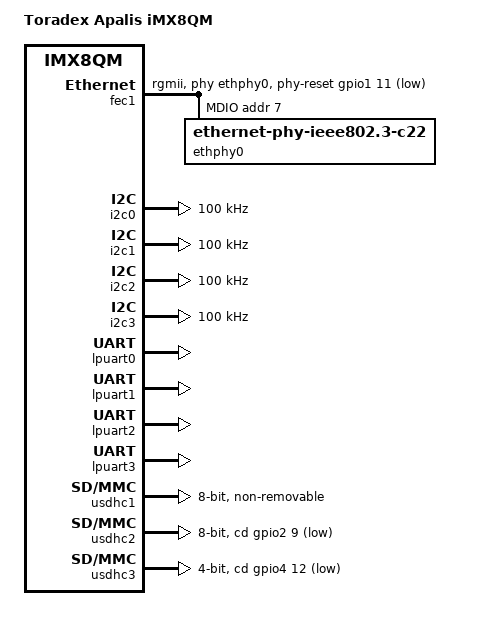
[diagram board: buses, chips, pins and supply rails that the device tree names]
// SPDX-License-Identifier: GPL-2.0+ OR X11
/*
 * Copyright 2017-2019 Toradex
 */

/dts-v1/;

/* First 128KB is for PSCI ATF. */
/memreserve/ 0x80000000 0x00020000;

#include "fsl-imx8qm.dtsi"
#include "fsl-imx8qm-apalis-u-boot.dtsi"

/ {
	model = "Toradex Apalis iMX8QM";
	compatible = "toradex,apalis-imx8qm", "fsl,imx8qm";

	chosen {
		bootargs = "console=ttyLP1,115200 earlycon=lpuart32,0x5a070000,115200";
		stdout-path = &lpuart1;
	};
};

&iomuxc {
	pinctrl-names = "default";
	pinctrl-0 = <&pinctrl_cam1_gpios>, <&pinctrl_dap1_gpios>,
		    <&pinctrl_esai0_gpios>, <&pinctrl_fec2_gpios>,
		    <&pinctrl_gpio12>, <&pinctrl_gpio34>, <&pinctrl_gpio56>,
		    <&pinctrl_gpio7>, <&pinctrl_gpio8>, <&pinctrl_gpio_bkl_on>,
		    <&pinctrl_gpio_keys>, <&pinctrl_gpio_pwm0>,
		    <&pinctrl_gpio_pwm1>, <&pinctrl_gpio_pwm2>,
		    <&pinctrl_gpio_pwm3>, <&pinctrl_gpio_pwm_bkl>,
		    <&pinctrl_gpio_usbh_en>, <&pinctrl_gpio_usbh_oc_n>,
		    <&pinctrl_gpio_usbo1_en>, <&pinctrl_gpio_usbo1_oc_n>,
		    <&pinctrl_lpuart1ctrl>, <&pinctrl_lvds0_i2c0_gpio>,
		    <&pinctrl_lvds1_i2c0_gpios>, <&pinctrl_mipi_dsi_0_1_en>,
		    <&pinctrl_mipi_dsi1_gpios>, <&pinctrl_mlb_gpios>,
		    <&pinctrl_qspi1a_gpios>, <&pinctrl_sata1_act>,
		    <&pinctrl_sim0_gpios>, <&pinctrl_usdhc1_gpios>;

	apalis-imx8qm {
		pinctrl_gpio12: gpio12grp {
			fsl,pins = <
				/* Apalis GPIO1 */
				SC_P_M40_GPIO0_00_LSIO_GPIO0_IO08		0x06000021
				/* Apalis GPIO2 */
				SC_P_M40_GPIO0_01_LSIO_GPIO0_IO09		0x06000021
			>;
		};

		pinctrl_gpio34: gpio34grp {
			fsl,pins = <
				/* Apalis GPIO3 */
				SC_P_M41_GPIO0_00_LSIO_GPIO0_IO12		0x06000021
				/* Apalis GPIO4 */
				SC_P_M41_GPIO0_01_LSIO_GPIO0_IO13		0x06000021
			>;
		};

		pinctrl_gpio56: gpio56grp {
			fsl,pins = <
				/* Apalis GPIO5 */
				SC_P_FLEXCAN2_RX_LSIO_GPIO4_IO01		0x06000021
				/* Apalis GPIO6 */
				SC_P_FLEXCAN2_TX_LSIO_GPIO4_IO02		0x06000021
			>;
		};

		pinctrl_gpio7: gpio7 {
			fsl,pins = <
				/* Apalis GPIO7 */
				SC_P_MLB_SIG_LSIO_GPIO3_IO26			0x00000021
			>;
		};

		pinctrl_gpio8: gpio8 {
			fsl,pins = <
				/* Apalis GPIO8 */
				SC_P_MLB_DATA_LSIO_GPIO3_IO28			0x00000021
			>;
		};

		pinctrl_gpio_keys: gpio-keys {
			fsl,pins = <
				/* Apalis WAKE1_MICO */
				SC_P_SPI3_CS0_LSIO_GPIO2_IO20		0x06000021
			>;
		};

		pinctrl_fec1: fec1grp {
			fsl,pins = <
				SC_P_COMP_CTL_GPIO_1V8_3V3_ENET_ENETB_PAD	0x000014a0 /* Use pads in 3.3V mode */
				SC_P_ENET0_MDC_CONN_ENET0_MDC			0x06000020
				SC_P_ENET0_MDIO_CONN_ENET0_MDIO			0x06000020
				SC_P_ENET0_RGMII_TX_CTL_CONN_ENET0_RGMII_TX_CTL	0x06000020
				SC_P_ENET0_RGMII_TXC_CONN_ENET0_RGMII_TXC	0x06000020
				SC_P_ENET0_RGMII_TXD0_CONN_ENET0_RGMII_TXD0	0x06000020
				SC_P_ENET0_RGMII_TXD1_CONN_ENET0_RGMII_TXD1	0x06000020
				SC_P_ENET0_RGMII_TXD2_CONN_ENET0_RGMII_TXD2	0x06000020
				SC_P_ENET0_RGMII_TXD3_CONN_ENET0_RGMII_TXD3	0x06000020
				SC_P_ENET0_RGMII_RXC_CONN_ENET0_RGMII_RXC	0x06000020
				SC_P_ENET0_RGMII_RX_CTL_CONN_ENET0_RGMII_RX_CTL	0x06000020
				SC_P_ENET0_RGMII_RXD0_CONN_ENET0_RGMII_RXD0	0x06000020
				SC_P_ENET0_RGMII_RXD1_CONN_ENET0_RGMII_RXD1	0x06000020
				SC_P_ENET0_RGMII_RXD2_CONN_ENET0_RGMII_RXD2	0x06000020
				SC_P_ENET0_RGMII_RXD3_CONN_ENET0_RGMII_RXD3	0x06000020
				SC_P_ENET0_REFCLK_125M_25M_CONN_ENET0_REFCLK_125M_25M	0x06000020
				/* ETH_RESET# */
				SC_P_LVDS1_GPIO01_LSIO_GPIO1_IO11		0x06000020
			>;
		};

		pinctrl_gpio_bkl_on: gpio-bkl-on {
			fsl,pins = <
				/* Apalis BKL_ON */
				SC_P_LVDS0_GPIO00_LSIO_GPIO1_IO04	0x00000021
			>;
		};

		/* Apalis I2C2 (DDC) */
		pinctrl_lpi2c0: lpi2c0grp {
			fsl,pins = <
				SC_P_HDMI_TX0_TS_SCL_DMA_I2C0_SCL	0x04000022
				SC_P_HDMI_TX0_TS_SDA_DMA_I2C0_SDA	0x04000022
			>;
		};

		pinctrl_cam1_gpios: cam1gpiosgrp {
			fsl,pins = <
				/* Apalis CAM1_D7 */
				SC_P_MIPI_DSI1_I2C0_SCL_LSIO_GPIO1_IO20	0x00000021
				/* Apalis CAM1_D6 */
				SC_P_MIPI_DSI1_I2C0_SDA_LSIO_GPIO1_IO21	0x00000021
				/* Apalis CAM1_D5 */
				SC_P_ESAI0_TX0_LSIO_GPIO2_IO26		0x00000021
				/* Apalis CAM1_D4 */
				SC_P_ESAI0_TX1_LSIO_GPIO2_IO27		0x00000021
				/* Apalis CAM1_D3 */
				SC_P_ESAI0_TX2_RX3_LSIO_GPIO2_IO28	0x00000021
				/* Apalis CAM1_D2 */
				SC_P_ESAI0_TX3_RX2_LSIO_GPIO2_IO29	0x00000021
				/* Apalis CAM1_D1 */
				SC_P_ESAI0_TX4_RX1_LSIO_GPIO2_IO30	0x00000021
				/* Apalis CAM1_D0 */
				SC_P_ESAI0_TX5_RX0_LSIO_GPIO2_IO31	0x00000021
				/* Apalis CAM1_PCLK */
				SC_P_MCLK_IN0_LSIO_GPIO3_IO00		0x00000021
				/* Apalis CAM1_MCLK */
				SC_P_SPI3_SDO_LSIO_GPIO2_IO18		0x00000021
				/* Apalis CAM1_VSYNC */
				SC_P_ESAI0_SCKR_LSIO_GPIO2_IO24		0x00000021
				/* Apalis CAM1_HSYNC */
				SC_P_ESAI0_SCKT_LSIO_GPIO2_IO25		0x00000021
			>;
		};

		pinctrl_dap1_gpios: dap1gpiosgrp {
			fsl,pins = <
				/* Apalis DAP1_MCLK */
				SC_P_SPI3_SDI_LSIO_GPIO2_IO19			0x00000021
				/* Apalis DAP1_D_OUT */
				SC_P_SAI1_RXC_LSIO_GPIO3_IO12			0x00000021
				/* Apalis DAP1_RESET */
				SC_P_ESAI1_SCKT_LSIO_GPIO2_IO07			0x00000021
				/* Apalis DAP1_BIT_CLK */
				SC_P_SPI0_CS1_LSIO_GPIO3_IO06			0x00000021
				/* Apalis DAP1_D_IN */
				SC_P_SAI1_RXFS_LSIO_GPIO3_IO14			0x00000021
				/* Apalis DAP1_SYNC */
				SC_P_SPI2_CS1_LSIO_GPIO3_IO11			0x00000021
				/* Wi-Fi_I2S_EN# */
				SC_P_ESAI1_TX5_RX0_LSIO_GPIO2_IO13		0x00000021
			>;
		};

		pinctrl_esai0_gpios: esai0gpiosgrp {
			fsl,pins = <
				/* Apalis LCD1_G1 */
				SC_P_ESAI0_FSR_LSIO_GPIO2_IO22			0x00000021
				/* Apalis LCD1_G2 */
				SC_P_ESAI0_FST_LSIO_GPIO2_IO23			0x00000021
			>;
		};

		pinctrl_fec2_gpios: fec2gpiosgrp {
			fsl,pins = <
				SC_P_COMP_CTL_GPIO_1V8_3V3_ENET_ENETA_PAD	0x000014a0
				/* Apalis LCD1_R1 */
				SC_P_ENET1_MDC_LSIO_GPIO4_IO18			0x00000021
				/* Apalis LCD1_R0 */
				SC_P_ENET1_MDIO_LSIO_GPIO4_IO17			0x00000021
				/* Apalis LCD1_G0 */
				SC_P_ENET1_REFCLK_125M_25M_LSIO_GPIO4_IO16	0x00000021
				/* Apalis LCD1_R7 */
				SC_P_ENET1_RGMII_RX_CTL_LSIO_GPIO6_IO17		0x00000021
				/* Apalis LCD1_DE */
				SC_P_ENET1_RGMII_RXD0_LSIO_GPIO6_IO18		0x00000021
				/* Apalis LCD1_HSYNC */
				SC_P_ENET1_RGMII_RXD1_LSIO_GPIO6_IO19		0x00000021
				/* Apalis LCD1_VSYNC */
				SC_P_ENET1_RGMII_RXD2_LSIO_GPIO6_IO20		0x00000021
				/* Apalis LCD1_PCLK */
				SC_P_ENET1_RGMII_RXD3_LSIO_GPIO6_IO21		0x00000021
				/* Apalis LCD1_R6 */
				SC_P_ENET1_RGMII_TX_CTL_LSIO_GPIO6_IO11		0x00000021
				/* Apalis LCD1_R5 */
				SC_P_ENET1_RGMII_TXC_LSIO_GPIO6_IO10		0x00000021
				/* Apalis LCD1_R4 */
				SC_P_ENET1_RGMII_TXD0_LSIO_GPIO6_IO12		0x00000021
				/* Apalis LCD1_R3 */
				SC_P_ENET1_RGMII_TXD1_LSIO_GPIO6_IO13		0x00000021
				/* Apalis LCD1_R2 */
				SC_P_ENET1_RGMII_TXD2_LSIO_GPIO6_IO14		0x00000021
			>;
		};

		pinctrl_lvds0_i2c0_gpio: lvds0i2c0gpio {
			fsl,pins = <
				/* Apalis TS_2 */
				SC_P_LVDS0_I2C0_SCL_LSIO_GPIO1_IO06		0x00000021
			>;
		};

		pinctrl_lvds1_i2c0_gpios: lvds1i2c0gpiosgrp {
			fsl,pins = <
				/* Apalis LCD1_G6 */
				SC_P_LVDS1_I2C0_SCL_LSIO_GPIO1_IO12		0x00000021
				/* Apalis LCD1_G7 */
				SC_P_LVDS1_I2C0_SDA_LSIO_GPIO1_IO13		0x00000021
			>;
		};

		pinctrl_mipi_dsi1_gpios: mipidsi1gpiosgrp {
			fsl,pins = <
				/* Apalis TS_4 */
				SC_P_MIPI_DSI1_GPIO0_00_LSIO_GPIO1_IO22		0x00000021
			>;
		};

		pinctrl_mlb_gpios: mlbgpiosgrp {
			fsl,pins = <
				/* Apalis TS_1 */
				SC_P_MLB_CLK_LSIO_GPIO3_IO27			0x00000021
			>;
		};

		pinctrl_qspi1a_gpios: qspi1agpiosgrp {
			fsl,pins = <
				/* Apalis LCD1_B0 */
				SC_P_QSPI1A_DATA0_LSIO_GPIO4_IO26		0x00000021
				/* Apalis LCD1_B1 */
				SC_P_QSPI1A_DATA1_LSIO_GPIO4_IO25		0x00000021
				/* Apalis LCD1_B2 */
				SC_P_QSPI1A_DATA2_LSIO_GPIO4_IO24		0x00000021
				/* Apalis LCD1_B3 */
				SC_P_QSPI1A_DATA3_LSIO_GPIO4_IO23		0x00000021
				/* Apalis LCD1_B5 */
				SC_P_QSPI1A_DQS_LSIO_GPIO4_IO22			0x00000021
				/* Apalis LCD1_B7 */
				SC_P_QSPI1A_SCLK_LSIO_GPIO4_IO21		0x00000021
				/* Apalis LCD1_B4 */
				SC_P_QSPI1A_SS0_B_LSIO_GPIO4_IO19		0x00000021
				/* Apalis LCD1_B6 */
				SC_P_QSPI1A_SS1_B_LSIO_GPIO4_IO20		0x00000021
			>;
		};

		pinctrl_sim0_gpios: sim0gpiosgrp {
			fsl,pins = <
				/* Apalis LCD1_G5 */
				SC_P_SIM0_CLK_LSIO_GPIO0_IO00			0x00000021
				/* Apalis LCD1_G3 */
				SC_P_SIM0_GPIO0_00_LSIO_GPIO0_IO05		0x00000021
				/* Apalis TS_5 */
				SC_P_SIM0_IO_LSIO_GPIO0_IO02			0x00000021
				/* Apalis LCD1_G4 */
				SC_P_SIM0_RST_LSIO_GPIO0_IO01			0x00000021
			>;
		};

		pinctrl_usdhc1_gpios: usdhc1gpiosgrp {
			fsl,pins = <
				/* Apalis TS_6 */
				SC_P_USDHC1_STROBE_LSIO_GPIO5_IO23		0x00000021
			>;
		};

		pinctrl_mipi_dsi_0_1_en: mipi_dsi_0_1_en {
			fsl,pins = <
				/* Apalis TS_3 */
				SC_P_LVDS0_I2C0_SDA_LSIO_GPIO1_IO07		0x00000021
			>;
		};

		/* On-module I2C */
		pinctrl_lpi2c1: lpi2c1grp {
			fsl,pins = <
				SC_P_GPT0_CLK_DMA_I2C1_SCL		0x04000020
				SC_P_GPT0_CAPTURE_DMA_I2C1_SDA		0x04000020
			>;
		};

		/* Apalis I2C1 */
		pinctrl_lpi2c2: lpi2c2grp {
			fsl,pins = <
				SC_P_GPT1_CLK_DMA_I2C2_SCL		0x04000020
				SC_P_GPT1_CAPTURE_DMA_I2C2_SDA		0x04000020
			>;
		};

		/* Apalis I2C3 (CAM) */
		pinctrl_lpi2c3: lpi2c3grp {
			fsl,pins = <
				SC_P_SIM0_PD_DMA_I2C3_SCL		0x04000020
				SC_P_SIM0_POWER_EN_DMA_I2C3_SDA		0x04000020
			>;
		};

		/* Apalis UART3 */
		pinctrl_lpuart0: lpuart0grp {
			fsl,pins = <
				SC_P_UART0_RX_DMA_UART0_RX		0x06000020
				SC_P_UART0_TX_DMA_UART0_TX		0x06000020
			>;
		};

		/* Apalis UART1 */
		pinctrl_lpuart1: lpuart1grp {
			fsl,pins = <
				SC_P_UART1_RX_DMA_UART1_RX		0x06000020
				SC_P_UART1_TX_DMA_UART1_TX		0x06000020
				SC_P_UART1_CTS_B_DMA_UART1_CTS_B	0x06000020
				SC_P_UART1_RTS_B_DMA_UART1_RTS_B	0x06000020
			>;
		};

		pinctrl_lpuart1ctrl: lpuart1ctrlgrp {
			fsl,pins = <
				/* Apalis UART1_DTR */
				SC_P_M40_I2C0_SCL_LSIO_GPIO0_IO06	0x00000021
				/* Apalis UART1_DSR */
				SC_P_M40_I2C0_SDA_LSIO_GPIO0_IO07	0x00000021
				/* Apalis UART1_DCD */
				SC_P_M41_I2C0_SCL_LSIO_GPIO0_IO10	0x00000021
				/* Apalis UART1_RI */
				SC_P_M41_I2C0_SDA_LSIO_GPIO0_IO11	0x00000021
			>;
		};

		/* Apalis UART4 */
		pinctrl_lpuart2: lpuart2grp {
			fsl,pins = <
				SC_P_LVDS0_I2C1_SCL_DMA_UART2_TX	0x06000020
				SC_P_LVDS0_I2C1_SDA_DMA_UART2_RX	0x06000020
			>;
		};

		/* Apalis UART2 */
		pinctrl_lpuart3: lpuart3grp {
			fsl,pins = <
				SC_P_LVDS1_I2C1_SCL_DMA_UART3_TX	0x06000020
				SC_P_LVDS1_I2C1_SDA_DMA_UART3_RX	0x06000020
				SC_P_ENET1_RGMII_TXD3_DMA_UART3_RTS_B	0x06000020
				SC_P_ENET1_RGMII_RXC_DMA_UART3_CTS_B	0x06000020
			>;
		};

		/* Apalis PWM3 */
		pinctrl_gpio_pwm0: gpiopwm0grp {
			fsl,pins = <
				SC_P_UART0_RTS_B_LSIO_GPIO0_IO22	0x00000021
			>;
		};

		/* Apalis PWM4 */
		pinctrl_gpio_pwm1: gpiopwm1grp {
			fsl,pins = <
				SC_P_UART0_CTS_B_LSIO_GPIO0_IO23	0x00000021
			>;
		};

		/* Apalis PWM1 */
		pinctrl_gpio_pwm2: gpiopwm2grp {
			fsl,pins = <
				SC_P_GPT1_COMPARE_LSIO_GPIO0_IO19	0x00000021
			>;
		};

		/* Apalis PWM2 */
		pinctrl_gpio_pwm3: gpiopwm3grp {
			fsl,pins = <
				SC_P_GPT0_COMPARE_LSIO_GPIO0_IO16	0x00000021
			>;
		};

		/* Apalis BKL1_PWM */
		pinctrl_gpio_pwm_bkl: gpiopwmbklgrp {
			fsl,pins = <
				SC_P_LVDS1_GPIO00_LVDS1_GPIO0_IO00	0x00000021
			>;
		};

		/* Apalis USBH_EN */
		pinctrl_gpio_usbh_en: gpiousbhen {
			fsl,pins = <
				SC_P_USB_SS3_TC1_LSIO_GPIO4_IO04	0x06000060
			>;
		};

		/* Apalis USBH_OC# */
		pinctrl_gpio_usbh_oc_n: gpiousbhocn {
			fsl,pins = <
				SC_P_USB_SS3_TC3_LSIO_GPIO4_IO06	0x06000060
			>;
		};

		/* Apalis USBO1_EN */
		pinctrl_gpio_usbo1_en: gpiousbo1en {
			fsl,pins = <
				SC_P_USB_SS3_TC0_LSIO_GPIO4_IO03	0x06000060
			>;
		};

		/* Apalis USBO1_OC# */
		pinctrl_gpio_usbo1_oc_n: gpiousbo1ocn {
			fsl,pins = <
				SC_P_USB_SS3_TC2_LSIO_GPIO4_IO05	0x06000060
			>;
		};

		pinctrl_usdhc1: usdhc1grp {
			fsl,pins = <
				SC_P_EMMC0_CLK_CONN_EMMC0_CLK		0x06000041
				SC_P_EMMC0_CMD_CONN_EMMC0_CMD		0x00000021
				SC_P_EMMC0_DATA0_CONN_EMMC0_DATA0	0x00000021
				SC_P_EMMC0_DATA1_CONN_EMMC0_DATA1	0x00000021
				SC_P_EMMC0_DATA2_CONN_EMMC0_DATA2	0x00000021
				SC_P_EMMC0_DATA3_CONN_EMMC0_DATA3	0x00000021
				SC_P_EMMC0_DATA4_CONN_EMMC0_DATA4	0x00000021
				SC_P_EMMC0_DATA5_CONN_EMMC0_DATA5	0x00000021
				SC_P_EMMC0_DATA6_CONN_EMMC0_DATA6	0x00000021
				SC_P_EMMC0_DATA7_CONN_EMMC0_DATA7	0x00000021
				SC_P_EMMC0_STROBE_CONN_EMMC0_STROBE	0x06000041
				SC_P_EMMC0_RESET_B_CONN_EMMC0_RESET_B	0x00000021
			>;
		};

		pinctrl_sata1_act: sata1actgrp {
			fsl,pins = <
				/* Apalis SATA1_ACT# */
				SC_P_ESAI1_TX0_LSIO_GPIO2_IO08		0x00000021
			>;
		};

		pinctrl_mmc1_cd: mmc1cdgrp {
			fsl,pins = <
				/* Apalis MMC1_CD# */
				SC_P_ESAI1_TX1_LSIO_GPIO2_IO09		0x00000021
			>;
		};

		pinctrl_usdhc2: usdhc2grp {
			fsl,pins = <
				SC_P_USDHC1_CLK_CONN_USDHC1_CLK		0x06000041
				SC_P_USDHC1_CMD_CONN_USDHC1_CMD		0x00000021
				SC_P_USDHC1_DATA0_CONN_USDHC1_DATA0	0x00000021
				SC_P_USDHC1_DATA1_CONN_USDHC1_DATA1	0x00000021
				SC_P_USDHC1_DATA2_CONN_USDHC1_DATA2	0x00000021
				SC_P_USDHC1_DATA3_CONN_USDHC1_DATA3	0x00000021
				SC_P_USDHC1_DATA4_CONN_USDHC1_DATA4	0x00000021
				SC_P_USDHC1_DATA5_CONN_USDHC1_DATA5	0x00000021
				SC_P_USDHC1_DATA6_CONN_USDHC1_DATA6	0x00000021
				SC_P_USDHC1_DATA7_CONN_USDHC1_DATA7	0x00000021
				/* On-module PMIC use */
				SC_P_USDHC1_VSELECT_CONN_USDHC1_VSELECT	0x00000021
			>;
		};

		pinctrl_sd1_cd: sd1cdgrp {
			fsl,pins = <
				/* Apalis SD1_CD# */
				SC_P_USDHC2_CD_B_LSIO_GPIO4_IO12	0x00000021
			>;
		};

		pinctrl_usdhc3: usdhc3grp {
			fsl,pins = <
				SC_P_USDHC2_CLK_CONN_USDHC2_CLK		0x06000041
				SC_P_USDHC2_CMD_CONN_USDHC2_CMD		0x00000021
				SC_P_USDHC2_DATA0_CONN_USDHC2_DATA0	0x00000021
				SC_P_USDHC2_DATA1_CONN_USDHC2_DATA1	0x00000021
				SC_P_USDHC2_DATA2_CONN_USDHC2_DATA2	0x00000021
				SC_P_USDHC2_DATA3_CONN_USDHC2_DATA3	0x00000021
				/* On-module PMIC use */
				SC_P_USDHC2_VSELECT_CONN_USDHC2_VSELECT	0x00000021
			>;
		};
	};
};

&fec1 {
	pinctrl-names = "default";
	pinctrl-0 = <&pinctrl_fec1>;
	fsl,magic-packet;
	phy-handle = <&ethphy0>;
	phy-mode = "rgmii";
	phy-reset-duration = <10>;
	phy-reset-gpios = <&gpio1 11 1>;
	status = "okay";

	mdio {
		#address-cells = <1>;
		#size-cells = <0>;

		ethphy0: ethernet-phy@7 {
			compatible = "ethernet-phy-ieee802.3-c22";
			reg = <7>;
		};
	};
};

/* Apalis I2C2 (DDC) */
&i2c0 {
	#address-cells = <1>;
	#size-cells = <0>;
	pinctrl-names = "default";
	pinctrl-0 = <&pinctrl_lpi2c0>;
	clock-frequency = <100000>;
	status = "okay";
};

/* On-module I2C */
&i2c1 {
	#address-cells = <1>;
	#size-cells = <0>;
	clock-frequency = <100000>;
	pinctrl-names = "default";
	pinctrl-0 = <&pinctrl_lpi2c1>;
	status = "okay";
};

/* Apalis I2C1 */
&i2c2 {
	#address-cells = <1>;
	#size-cells = <0>;
	clock-frequency = <100000>;
	pinctrl-names = "default";
	pinctrl-0 = <&pinctrl_lpi2c2>;
	status = "okay";
};

/* Apalis I2C3 (CAM) */
&i2c3 {
	#address-cells = <1>;
	#size-cells = <0>;
	clock-frequency = <100000>;
	pinctrl-names = "default";
	pinctrl-0 = <&pinctrl_lpi2c3>;
	status = "okay";
};

/* Apalis UART3 */
&lpuart0 {
	pinctrl-names = "default";
	pinctrl-0 = <&pinctrl_lpuart0>;
	status = "okay";
};

/* Apalis UART1 */
&lpuart1 {
	pinctrl-names = "default";
	pinctrl-0 = <&pinctrl_lpuart1>;
	status = "okay";
};

/* Apalis UART4 */
&lpuart2 {
	pinctrl-names = "default";
	pinctrl-0 = <&pinctrl_lpuart2>;
	status = "okay";
};

/* Apalis UART2 */
&lpuart3 {
	pinctrl-names = "default";
	pinctrl-0 = <&pinctrl_lpuart3>;
	status = "okay";
};

/* eMMC */
&usdhc1 {
	pinctrl-names = "default";
	pinctrl-0 = <&pinctrl_usdhc1>;
	bus-width = <8>;
	non-removable;
	status = "okay";
};

/* Apalis MMC1 */
&usdhc2 {
	pinctrl-names = "default";
	pinctrl-0 = <&pinctrl_usdhc2>, <&pinctrl_mmc1_cd>;
	bus-width = <8>;
	cd-gpios = <&gpio2 9 GPIO_ACTIVE_LOW>; /* Apalis MMC1_CD# */
	status = "okay";
};

/* Apalis SD1 */
&usdhc3 {
	pinctrl-names = "default";
	pinctrl-0 = <&pinctrl_usdhc3>, <&pinctrl_sd1_cd>;
	bus-width = <4>;
	cd-gpios = <&gpio4 12 GPIO_ACTIVE_LOW>; /* Apalis SD1_CD# */
	status = "okay";
};
